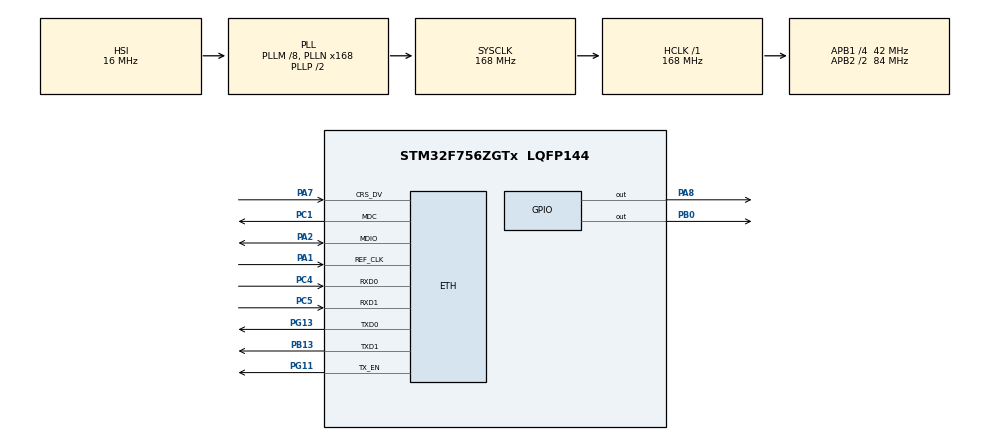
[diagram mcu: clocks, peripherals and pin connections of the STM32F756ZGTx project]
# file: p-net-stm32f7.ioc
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ETH.MediaInterface=HAL_ETH_RMII_MODE
FREERTOS.Tasks01=defaultTask,0,256,StartDefaultTask,Default,NULL,Dynamic,NULL,NULL
FREERTOS.configUSE_NEWLIB_REENTRANT=1
FREERTOS.configUSE_RECURSIVE_MUTEXES=1
FREERTOS.configUSE_TIMERS=1
LWIP.BSP.number=1
LWIP.ETHARP_SUPPORT_VLAN=1
LWIP.GATEWAY_ADDRESS=192.168.001.001
LWIP.IP_ADDRESS=192.168.001.100
LWIP.LWIP_DHCP=0
LWIP.LWIP_ENABLE_NETIF_HOSTNAME=1
LWIP.LWIP_SNMP=1
LWIP.NETMASK_ADDRESS=255.255.255.000
LWIP.Version=v2.1.2_Cube
LWIP0.BSP.STBoard=false
LWIP0.BSP.api=BSP_COMPONENT_DRIVER
LWIP0.BSP.component=LAN8742
LWIP0.BSP.instance=LAN8742
LWIP0.BSP.name=Driver_PHY
LWIP0.BSP.semaphore=S_LAN8742
LWIP0.BSP.solution=LAN8742
Mcu.Family=STM32F7
Mcu.Name=STM32F756ZGTx
Mcu.Package=LQFP144
NVIC.ETH_IRQn=true\:5\:0\:false\:false\:true\:true\:false\:true\:true
NVIC.PriorityGroup=NVIC_PRIORITYGROUP_4
NVIC.TIM1_UP_TIM10_IRQn=true\:15\:0\:false\:false\:true\:false\:false\:true\:true
NVIC.TimeBase=TIM1_UP_TIM10_IRQn
NVIC.TimeBaseIP=TIM1
PA1.Mode=RMII
PA1.Signal=ETH_REF_CLK
PA2.Mode=RMII
PA2.Signal=ETH_MDIO
PA7.Mode=RMII
PA7.Signal=ETH_CRS_DV
PA8.Signal=GPIO_Output
PB0.Signal=GPIO_Output
PB13.Mode=RMII
PB13.Signal=ETH_TXD1
PC1.Mode=RMII
PC1.Signal=ETH_MDC
PC4.Mode=RMII
PC4.Signal=ETH_RXD0
PC5.Mode=RMII
PC5.Signal=ETH_RXD1
PG11.Mode=RMII
PG11.Signal=ETH_TX_EN
PG13.Mode=RMII
PG13.Signal=ETH_TXD0
PH0/OSC_IN.Mode=HSE-External-Clock-Source
PH0/OSC_IN.Signal=RCC_OSC_IN
PH1/OSC_OUT.Mode=HSE-External-Clock-Source
PH1/OSC_OUT.Signal=RCC_OSC_OUT
ProjectManager.HeapSize=0x200
ProjectManager.StackSize=0x400
ProjectManager.TargetToolchain=STM32CubeIDE
RCC.AHBFreq_Value=168000000
RCC.APB1CLKDivider=RCC_HCLK_DIV4
RCC.APB1Freq_Value=42000000
RCC.APB1TimFreq_Value=84000000
RCC.APB2CLKDivider=RCC_HCLK_DIV2
RCC.APB2Freq_Value=84000000
RCC.APB2TimFreq_Value=168000000
RCC.CortexFreq_Value=168000000
RCC.HCLKFreq_Value=168000000
RCC.HSE_VALUE=25000000
RCC.HSI_VALUE=16000000
RCC.LSE_VALUE=32768
RCC.PLLM=8
RCC.PLLN=168
RCC.SYSCLKFreq_VALUE=168000000
RCC.SYSCLKSource=RCC_SYSCLKSOURCE_PLLCLK
RCC.USBFreq_Value=168000000
RCC.VCOOutputFreq_Value=336000000
VP_FREERTOS_VS_CMSIS_V1.Mode=CMSIS_V1
VP_LWIP_VS_Enabled.Mode=Enabled
VP_SYS_VS_tim1.Mode=TIM1
board=custom

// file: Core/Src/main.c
/* USER CODE BEGIN Header */
/**
  ******************************************************************************
  * @file           : main.c
  * @brief          : Main program body
  ******************************************************************************
  * @attention
  *
  * Copyright (c) 2025 STMicroelectronics.
  * All rights reserved.
  *
  * This software is licensed under terms that can be found in the LICENSE file
  * in the root directory of this software component.
  * If no LICENSE file comes with this software, it is provided AS-IS.
  *
  ******************************************************************************
  */
/* USER CODE END Header */
#include "main.h"
#include "cmsis_os.h"
#include "lwip.h"

/* USER CODE BEGIN Includes */
#include "lwip/sockets.h"
#include "stdio.h"

#include "sampleapp_common.h"
#include "app_utils.h"
#include "app_log.h"
#include "app_gsdml.h"
/* USER CODE END Includes */

/* USER CODE BEGIN PTD */

#define UDP_BUFFER_SIZE 512
#define UDP_PORT 34567
char udp_buffer[UDP_BUFFER_SIZE];

/* USER CODE END PTD */

osThreadId defaultTaskHandle;

void SystemClock_Config(void);
static void MX_GPIO_Init(void);
void StartDefaultTask(void const * argument);

/* USER CODE BEGIN 0 */
static app_data_t * sample_app = NULL;
static pnet_cfg_t pnet_cfg = {0};
app_args_t app_args = {0};
/* USER CODE END 0 */

int main(void)
{

  /* MCU Configuration--------------------------------------------------------*/

  /* Reset of all peripherals, Initializes the Flash interface and the Systick. */
  HAL_Init();

  /* Configure the system clock */
  SystemClock_Config();

  /* Initialize all configured peripherals */
  MX_GPIO_Init();

  /* Create the thread(s) */
  /* definition and creation of defaultTask */
  osThreadDef(defaultTask, StartDefaultTask, osPriorityNormal, 0, 256);
  defaultTaskHandle = osThreadCreate(osThread(defaultTask), NULL);

  /* Start scheduler */
  osKernelStart();

  /* We should never get here as control is now taken by the scheduler */
  /* Infinite loop */
  while (1)
  {

  }
}

void SystemClock_Config(void)
{
  RCC_OscInitTypeDef RCC_OscInitStruct = {0};
  RCC_ClkInitTypeDef RCC_ClkInitStruct = {0};

  /** Configure the main internal regulator output voltage
  */
  __HAL_RCC_PWR_CLK_ENABLE();
  __HAL_PWR_VOLTAGESCALING_CONFIG(PWR_REGULATOR_VOLTAGE_SCALE2);

  /** Initializes the RCC Oscillators according to the specified parameters
  * in the RCC_OscInitTypeDef structure.
  */
  RCC_OscInitStruct.OscillatorType = RCC_OSCILLATORTYPE_HSI;
  RCC_OscInitStruct.HSIState = RCC_HSI_ON;
  RCC_OscInitStruct.HSICalibrationValue = RCC_HSICALIBRATION_DEFAULT;
  RCC_OscInitStruct.PLL.PLLState = RCC_PLL_ON;
  RCC_OscInitStruct.PLL.PLLSource = RCC_PLLSOURCE_HSI;
  RCC_OscInitStruct.PLL.PLLM = 8;
  RCC_OscInitStruct.PLL.PLLN = 168;
  RCC_OscInitStruct.PLL.PLLP = RCC_PLLP_DIV2;
  RCC_OscInitStruct.PLL.PLLQ = 2;
  if (HAL_RCC_OscConfig(&RCC_OscInitStruct) != HAL_OK)
  {
    Error_Handler();
  }

  /** Initializes the CPU, AHB and APB buses clocks
  */
  RCC_ClkInitStruct.ClockType = RCC_CLOCKTYPE_HCLK|RCC_CLOCKTYPE_SYSCLK
                              |RCC_CLOCKTYPE_PCLK1|RCC_CLOCKTYPE_PCLK2;
  RCC_ClkInitStruct.SYSCLKSource = RCC_SYSCLKSOURCE_PLLCLK;
  RCC_ClkInitStruct.AHBCLKDivider = RCC_SYSCLK_DIV1;
  RCC_ClkInitStruct.APB1CLKDivider = RCC_HCLK_DIV4;
  RCC_ClkInitStruct.APB2CLKDivider = RCC_HCLK_DIV2;

  if (HAL_RCC_ClockConfig(&RCC_ClkInitStruct, FLASH_LATENCY_5) != HAL_OK)
  {
    Error_Handler();
  }
}

static void MX_GPIO_Init(void)
{
  GPIO_InitTypeDef GPIO_InitStruct = {0};

  /* GPIO Ports Clock Enable */
  __HAL_RCC_GPIOH_CLK_ENABLE();
  __HAL_RCC_GPIOC_CLK_ENABLE();
  __HAL_RCC_GPIOA_CLK_ENABLE();
  __HAL_RCC_GPIOB_CLK_ENABLE();
  __HAL_RCC_GPIOG_CLK_ENABLE();

  /*Configure GPIO pin Output Level */
  HAL_GPIO_WritePin(GPIOB, GPIO_PIN_0, GPIO_PIN_RESET);

  /*Configure GPIO pin Output Level */
  HAL_GPIO_WritePin(GPIOA, GPIO_PIN_8, GPIO_PIN_RESET);

  /*Configure GPIO pin : PB0 */
  GPIO_InitStruct.Pin = GPIO_PIN_0;
  GPIO_InitStruct.Mode = GPIO_MODE_OUTPUT_PP;
  GPIO_InitStruct.Pull = GPIO_NOPULL;
  GPIO_InitStruct.Speed = GPIO_SPEED_FREQ_LOW;
  HAL_GPIO_Init(GPIOB, &GPIO_InitStruct);

  /*Configure GPIO pin : PA8 */
  GPIO_InitStruct.Pin = GPIO_PIN_8;
  GPIO_InitStruct.Mode = GPIO_MODE_OUTPUT_PP;
  GPIO_InitStruct.Pull = GPIO_NOPULL;
  GPIO_InitStruct.Speed = GPIO_SPEED_FREQ_LOW;
  HAL_GPIO_Init(GPIOA, &GPIO_InitStruct);

}

/* USER CODE BEGIN 4 */
int __io_putchar(int ch)
{
 // Write character to ITM ch.0
 ITM_SendChar(ch);
 return(ch);
}
/* USER CODE END 4 */

void StartDefaultTask(void const * argument)
{
  /* init code for LWIP */
  MX_LWIP_Init();
  /* USER CODE BEGIN 5 */
#define APP_DEFAULT_ETHERNET_INTERFACE "st"
#define APP_DEFAULT_FILE_DIRECTORY     ""
  app_utils_netif_namelist_t netif_name_list;
  pnet_if_cfg_t netif_cfg = {0};
  uint16_t number_of_ports;

  strcpy (app_args.eth_interfaces, APP_DEFAULT_ETHERNET_INTERFACE);
  strcpy (app_args.station_name, APP_GSDML_DEFAULT_STATION_NAME);
  app_pnet_cfg_init_default (&pnet_cfg);

  int ret = app_utils_pnet_cfg_init_netifs (
     app_args.eth_interfaces,
     &netif_name_list,
     &number_of_ports,
     &netif_cfg);
  if (ret != 0)
  {
	 printf ("Aborting application\n");
     return;
  }

  pnet_cfg.if_cfg = netif_cfg;
  pnet_cfg.num_physical_ports = number_of_ports;

  app_utils_print_network_config (&netif_cfg, number_of_ports);

  /* Initialize profinet stack */
  sample_app = app_init (&pnet_cfg, NULL);
  if (sample_app == NULL)
  {
     printf ("Failed to initialize P-Net.\n");
     printf ("Aborting application\n");
     return;
  }
  /* Start main loop */
  if (app_start (sample_app, RUN_IN_MAIN_THREAD) != 0)
  {
     printf ("Failed to start\n");
     printf ("Aborting application\n");
     return;
  }

  //app_loop_forever (sample_app);

  //DCP_Init();
  /* Infinite loop */
  for(;;)
  {
    HAL_GPIO_TogglePin(GPIOB, GPIO_PIN_0);
    osDelay(100);
  }
  /* USER CODE END 5 */
}

void HAL_TIM_PeriodElapsedCallback(TIM_HandleTypeDef *htim)
{
  if (htim->Instance == TIM1) {
    HAL_IncTick();
  }
}

void Error_Handler(void)
{
  __disable_irq();
  while (1)
  {
  }
}
